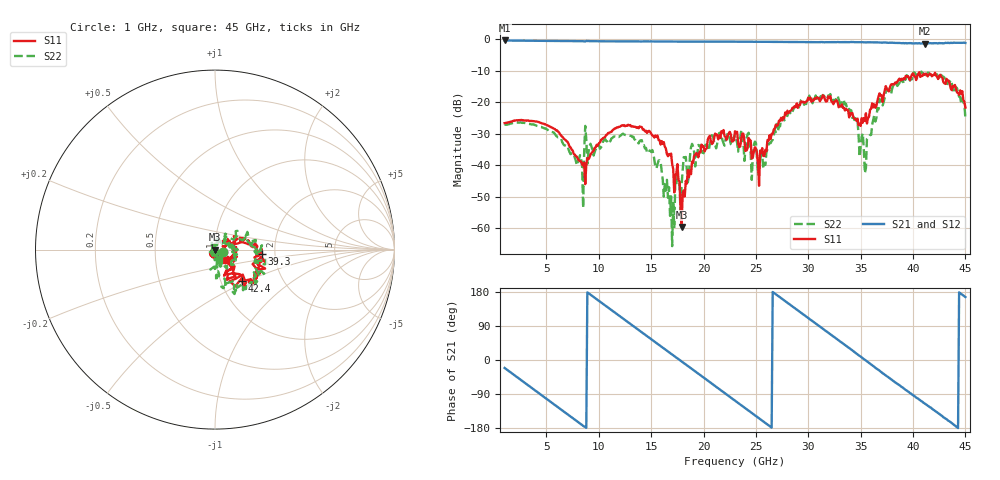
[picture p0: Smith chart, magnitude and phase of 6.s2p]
!Keysight Technologies,N5247B,MY61255062,A.19.80.06
!Date: Monday, May 18, 2026 12:42:40
!Correction: S11(Cdelta 2-Port  )
!S21(Cdelta 2-Port  )
!S12(Cdelta 2-Port  )
!S22(Cdelta 2-Port  )
!S2P File: Measurements: S11, S21, S12, S22:
# Hz S  dB  R 50
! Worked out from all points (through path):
!   441 points, 1 GHz to 45 GHz, reference 50 ohm
!   highest |S21| = -0.41 dB at 1 GHz (marker M1); lowest = -1.4 dB at 41.1 GHz (marker M2)
!   group delay of S21, straight-line fit = 56.4 ps
!   lowest |S11| = -59.6 dB at 17.9 GHz (marker M3), VSWR 1.00, Z = 50.1 - j0.00399 ohm
!   |S11| at or under -10 dB: start of sweep to end of sweep
!   |S22| runs from -65.7 to -10.3 dB; largest |S21 - S12| = 0.014
!   S11 on the Smith chart (normalised r, x): 1 GHz: 1.09, -0.03; 39.3 GHz: 1.70, -0.08; 42.4 GHz: 1.26, -0.47; 45 GHz: 1.12, -0.13
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1e9  -26.67 -16.3  -0.41 -21.0  -0.40 -21.0  -27.11 -17.7
4.6e9  -26.78 -100.1  -0.55 -94.2  -0.55 -94.2  -28.10 -100.0
8.4e9  -39.80 -109.8  -0.62 -171.5  -0.62 -171.5  -40.45 -80.1
8.8e9  -39.64 -58.1  -0.56 -179.0  -0.56 -179.0  -31.93 102.7
1.24e10  -27.29 -102.5  -0.72 107.7  -0.71 107.8  -30.27 -114.5
1.57e10  -31.99 -148.2  -0.73 40.7  -0.72 40.7  -38.54 -170.7
1.7e10  -39.65 -152.6  -0.76 14.4  -0.76 14.4  -65.74 -56.1
1.75e10  -39.65 -175.4  -0.77 4.3  -0.77 4.3  -42.17 -23.0
1.79e10  -59.64 -2.2  -0.78 -3.8  -0.78 -3.7  -46.25 -63.4
1.89e10  -38.87 -38.9  -0.77 -23.9  -0.77 -23.9  -33.24 -36.0
1.98e10  -33.46 -39.6  -0.77 -42.2  -0.77 -42.2  -36.44 -33.6
2.3e10  -29.22 -88.2  -0.79 -107.3  -0.79 -107.2  -30.45 -75.8
2.53e10  -46.53 158.0  -0.83 -154.0  -0.83 -153.9  -41.53 142.4
2.66e10  -30.10 74.4  -0.86 179.5  -0.84 179.7  -31.98 72.0
3.04e10  -19.39 -2.5  -0.94 102.5  -0.94 102.6  -20.34 -7.6
3.34e10  -21.78 -38.0  -0.96 41.7  -0.94 41.8  -19.48 -73.2
3.55e10  -23.53 19.7  -1.03 -1.4  -1.03 -1.3  -40.99 69.5
3.77e10  -16.59 17.1  -1.15 -46.7  -1.11 -46.6  -16.23 41.7
3.93e10  -11.68 -5.1  -1.24 -79.1  -1.26 -78.9  -12.80 -5.2
4.11e10  -11.35 -33.2  -1.38 -114.5  -1.39 -114.3  -12.02 -30.3
4.24e10  -12.65 -49.4  -1.33 -139.9  -1.30 -140.0  -12.18 -50.9
4.5e10  -21.76 -43.6  -1.19 166.1  -1.12 165.9  -25.16 -65.9
